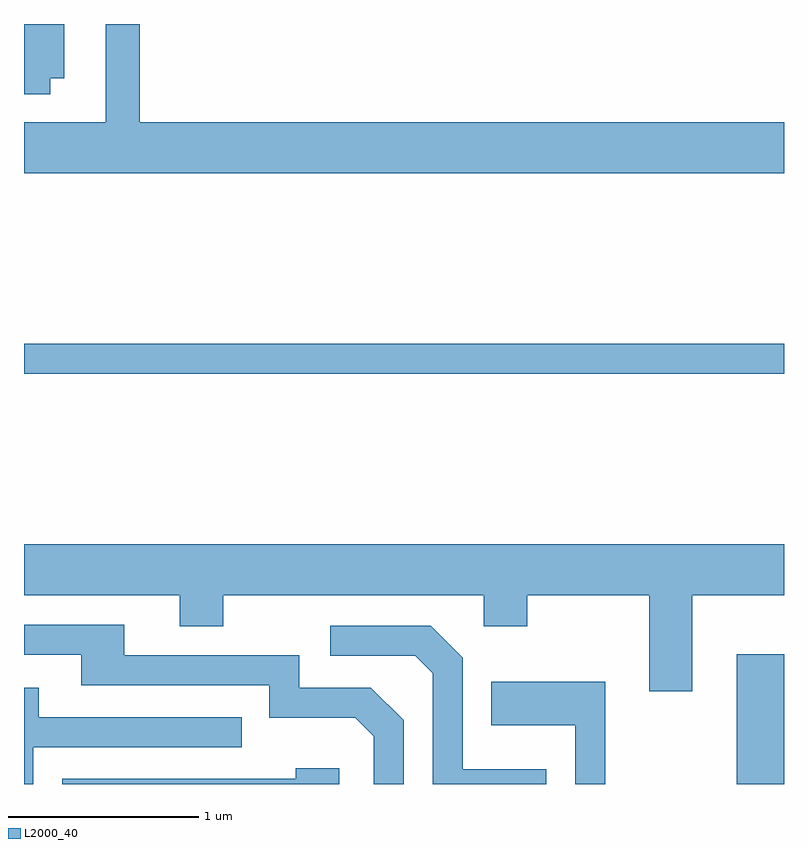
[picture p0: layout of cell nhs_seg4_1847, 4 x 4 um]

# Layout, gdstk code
import gdstk
lib = gdstk.Library(unit=1e-6, precision=1e-09)
def R(c, l, rs):  # rectangles x0, y0, x1, y1
    for r in rs: c.add(gdstk.rectangle(r[:2], r[2:], *l))
def P(c, l, *ps):  # polygons
    for p in ps: c.add(gdstk.Polygon(p, *l))
L2000_40 = (2000, 40)

nhs_seg4_1847 = lib.new_cell('nhs_seg4_1847')
R(nhs_seg4_1847, L2000_40, [(243.361,1275.982,243.611,1276.664), (239.611,1278.141,243.611,1278.299)])
P(nhs_seg4_1847, L2000_40, [(243.611,1279.464),(240.219,1279.464),(240.219,1279.982),(240.041,1279.982),(240.041,1279.464),(239.611,1279.464),(239.611,1279.196),(243.611,1279.196)],
  [(239.749,1279.696),(239.824,1279.696),(239.824,1279.982),(239.611,1279.982),(239.611,1279.613),(239.749,1279.613)],
  [(243.129,1276.976),(243.611,1276.976),(243.611,1277.244),(239.611,1277.244),(239.611,1276.976),(240.431,1276.976),(240.431,1276.811),(240.659,1276.811),(240.659,1276.976),(242.031,1276.976),(242.031,1276.811),(242.259,1276.811),(242.259,1276.976),(242.901,1276.976),(242.901,1276.471),(243.129,1276.471)],
  [(241.609,1276.317),(241.437,1276.489),(241.059,1276.489),(241.059,1276.659),(240.139,1276.659),(240.139,1276.819),(239.611,1276.819),(239.611,1276.661),(239.911,1276.661),(239.911,1276.501),(240.901,1276.501),(240.901,1276.331),(241.354,1276.331),(241.451,1276.234),(241.451,1275.982),(241.609,1275.982)],
  [(242.359,1276.059),(241.919,1276.059),(241.919,1276.647),(241.752,1276.814),(241.223,1276.814),(241.223,1276.656),(241.669,1276.656),(241.761,1276.564),(241.761,1275.982),(242.359,1275.982)],
  [(242.669,1276.519),(242.071,1276.519),(242.071,1276.291),(242.511,1276.291),(242.511,1275.982),(242.669,1275.982)],
  [(239.659,1276.176),(240.758,1276.176),(240.758,1276.334),(239.689,1276.334),(239.689,1276.489),(239.611,1276.489),(239.611,1275.982),(239.659,1275.982)],
  [(241.269,1276.064),(241.041,1276.064),(241.041,1276.009),(239.811,1276.009),(239.811,1275.982),(241.269,1275.982)])

lib.write_gds('nhs_seg4_1847.gds')
